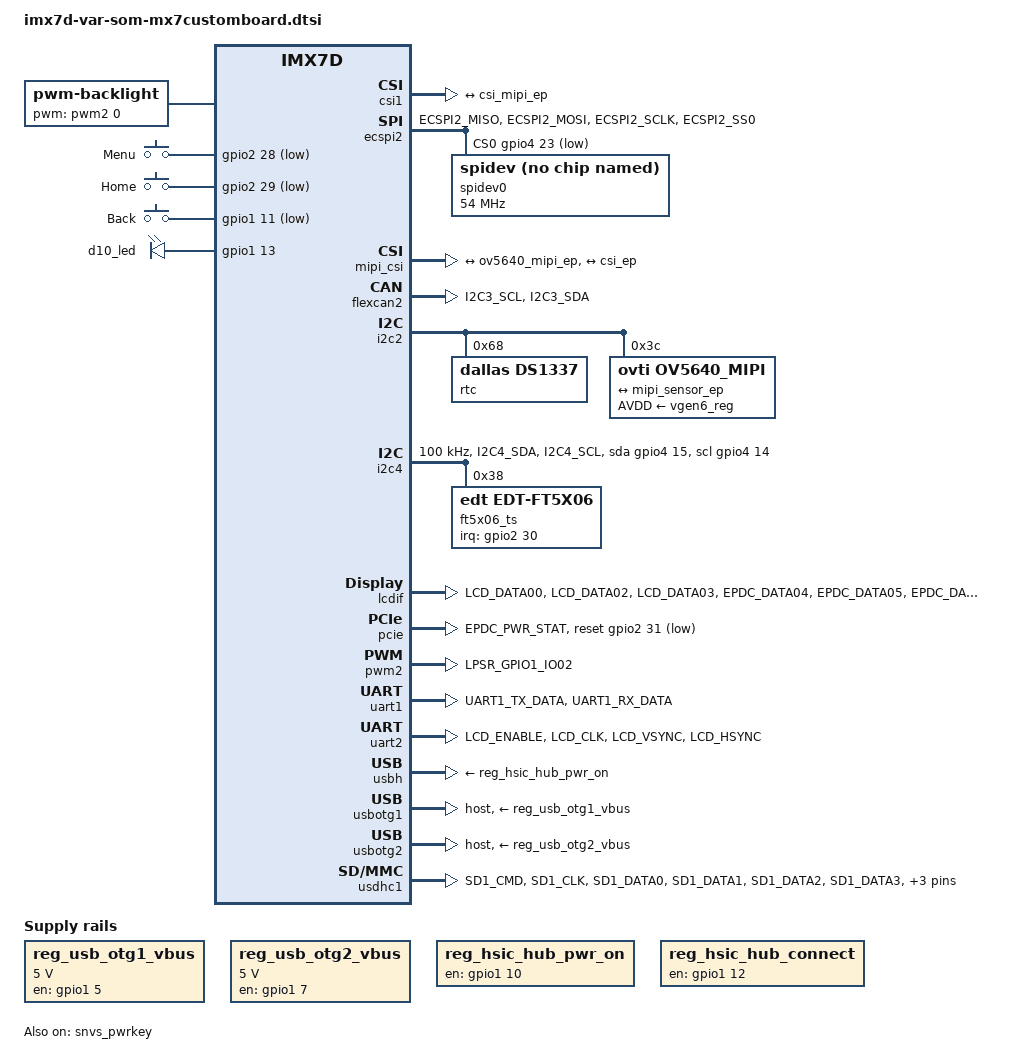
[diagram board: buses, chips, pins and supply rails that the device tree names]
// SPDX-License-Identifier: GPL-2.0+ OR MIT
//
// Copyright (C) 2016-2022 Variscite Ltd.

/ {
	chosen {
		stdout-path = &uart1;
	};

	backlight {
		compatible = "pwm-backlight";
		pwms = <&pwm2 0 5000000 0>;
		brightness-levels = <0 4 8 16 32 64 128 255>;
		default-brightness-level = <7>;
		status = "okay";
	};

	gpio-keys {
		compatible = "gpio-keys";
		pinctrl-names = "default";
		pinctrl-0 = <&pinctrl_gpio_keys>;

		menu {
			label = "Menu";
			gpios = <&gpio2 28 GPIO_ACTIVE_LOW>;
			linux,code = <KEY_MENU>;
		};

		home {
			label = "Home";
			gpios = <&gpio2 29 GPIO_ACTIVE_LOW>;
			linux,code = <KEY_HOME>;
		};

		back {
			label = "Back";
			gpios = <&gpio1 11 GPIO_ACTIVE_LOW>;
			linux,code = <KEY_BACK>;
		};
	};

	gpio-leds {
		compatible = "gpio-leds";
		pinctrl-names = "default";
		pinctrl-0 = <&pinctrl_gpio_leds>;

		d10_led {
			gpios = <&gpio1 13 GPIO_ACTIVE_HIGH>;
			linux,default-trigger = "heartbeat";
		};
	};

	reg_usb_otg1_vbus: reg-usb-otg1-vbus {
		pinctrl-names = "default";
		pinctrl-0 = <&pinctrl_usbotg1_pwr>;
		compatible = "regulator-fixed";
		regulator-name = "usb_otg1_vbus";
		regulator-min-microvolt = <5000000>;
		regulator-max-microvolt = <5000000>;
		gpio = <&gpio1 5 GPIO_ACTIVE_HIGH>;
		enable-active-high;
	};

	reg_usb_otg2_vbus: reg-usb-otg2-vbus {
		pinctrl-names = "default";
		pinctrl-0 = <&pinctrl_usbotg2_pwr>;
		compatible = "regulator-fixed";
		regulator-name = "usb_otg2_vbus";
		regulator-min-microvolt = <5000000>;
		regulator-max-microvolt = <5000000>;
		gpio = <&gpio1 7 GPIO_ACTIVE_HIGH>;
		enable-active-high;
	};

	reg_hsic_hub_pwr_on: reg_hsic_hub_pwr_on {
		pinctrl-names = "default";
		pinctrl-0 = <&pinctrl_hsic_hub_pwr>;
		compatible = "regulator-fixed";
		regulator-name = "hsic_hub_pwr_on";
		gpio = <&gpio1 10 GPIO_ACTIVE_HIGH>;
		enable-active-high;
		regulator-always-on;
		status = "okay";
	};

	reg_hsic_hub_connect: reg_hsic_hub_connect {
		pinctrl-names = "default";
		pinctrl-0 = <&pinctrl_hsic_hub_connect>;
		compatible = "regulator-fixed";
		regulator-name = "reg_hsic_hub_connect";
		gpio = <&gpio1 12 GPIO_ACTIVE_HIGH>;
		enable-active-high;
		regulator-always-on;
		status = "okay";
	};
};

&clks {
	assigned-clocks = <&clks IMX7D_PLL_AUDIO_POST_DIV>;
	assigned-clock-rates = <884736000>;
};

&csi1 {
	csi-mux-mipi = <&gpr 0x14 4>;
	fsl,mipi-mode;
	status = "okay";

	port {
		csi_ep: endpoint {
			remote-endpoint = <&csi_mipi_ep>;
		};
	};
};

&ecspi2 {
	fsl,spi-num-chipselects = <1>;
	pinctrl-names = "default", "sleep";
	pinctrl-0 = <&pinctrl_ecspi2>;
	cs-gpios = <&gpio4 23 GPIO_ACTIVE_LOW>;
	status = "okay";

	spidev0: spi@0 {
		compatible = "var,spidev";
		reg = <0>;
		spi-max-frequency = <54000000>;
	};
};

&mipi_csi {
	clock-frequency = <240000000>;
	status = "okay";
	port {
		mipi_sensor_ep: endpoint@1 {
			remote-endpoint = <&ov5640_mipi_ep>;
			data-lanes = <2>;
			csis-hs-settle = <13>;
			csis-clk-settle = <2>;
			csis-wclk;
		};

		csi_mipi_ep: endpoint@2 {
			remote-endpoint = <&csi_ep>;
		};
	};
};

&flexcan2 {
	pinctrl-names = "default";
	pinctrl-0 = <&pinctrl_flexcan2>;
	status = "okay";
};

&i2c2 {
	/* DS1337 RTC module */
	rtc@68 {
		compatible = "dallas,ds1337";
		reg = <0x68>;
	};

	ov5640_mipi: ov5640_mipi@3c {
		pinctrl-names = "default";
		pinctrl-0 = <&pinctrl_ov5640>;
		compatible = "ovti,ov5640_mipi";
		reg = <0x3c>;
		clocks = <&clks IMX7D_CLKO2_ROOT_CG>;
		clock-names = "csi_mclk";
		csi_id = <0>;
		AVDD-supply = <&vgen6_reg>;
		mclk = <24000000>;
		mclk_source = <0>;
		uyvy-fmt;
		port {
			ov5640_mipi_ep: endpoint {
				remote-endpoint = <&mipi_sensor_ep>;
			};
		};
	};
};

&i2c4 {
	clock-frequency = <100000>;
	pinctrl-names = "default", "gpio";
	pinctrl-0 = <&pinctrl_i2c4>;
	pinctrl-1 = <&pinctrl_i2c4_gpio>;
	scl-gpios = <&gpio4 14 GPIO_ACTIVE_HIGH>;
	sda-gpios = <&gpio4 15 GPIO_ACTIVE_HIGH>;
	status = "okay";

	ft5x06_ts@38 {
		pinctrl-names = "default";
		pinctrl-0 = <&pinctrl_touch>;
		compatible = "edt,edt-ft5x06";
		reg = <0x38>;
		interrupt-parent = <&gpio2>;
		interrupts = <30 0>;
		touchscreen-size-x = <800>;
		touchscreen-size-y = <480>;
		touchscreen-inverted-x;
		touchscreen-inverted-y;
	};
};

&lcdif {
	pinctrl-names = "default";
	pinctrl-0 = <&pinctrl_lcdif_dat
		     &pinctrl_lcdif_ctrl>;
	display = <&display0>;
	status = "okay";

	display0: display0 {
		bits-per-pixel = <32>;
		bus-width = <24>;

		display-timings {
			native-mode = <&timing0>;
			timing0: timing0 {
				clock-frequency = <29232000>;
				hactive = <800>;
				vactive = <480>;
				hfront-porch = <40>;
				hback-porch = <40>;
				hsync-len = <48>;
				vback-porch = <29>;
				vfront-porch = <13>;
				vsync-len = <3>;
				hsync-active = <0>;
				vsync-active = <0>;
				de-active = <1>;
				pixelclk-active = <0>;
			};
		};
	};
};

&pcie {
	pinctrl-names = "default";
	pinctrl-0 = <&pinctrl_pcie>;
	reset-gpio = <&gpio2 31 GPIO_ACTIVE_LOW>;
	status = "okay";
};

&sai2 {
	pinctrl-names = "default";
	pinctrl-0 = <&pinctrl_sai2>;
	assigned-clocks = <&clks IMX7D_SAI2_ROOT_SRC>,
			  <&clks IMX7D_SAI2_ROOT_CLK>;
	assigned-clock-parents = <&clks IMX7D_PLL_AUDIO_POST_DIV>;
	assigned-clock-rates = <0>, <36864000>;
	status = "disabled";
};

&pwm2 {
	pinctrl-names = "default";
	pinctrl-0 = <&pinctrl_pwm2>;
	status = "okay";
};

/* DEBUG */
&uart1 {
	pinctrl-names = "default", "sleep";
	pinctrl-0 = <&pinctrl_uart1>;
	pinctrl-1 = <&pinctrl_uart1_sleep>;
	assigned-clocks = <&clks IMX7D_UART1_ROOT_SRC>;
	assigned-clock-parents = <&clks IMX7D_OSC_24M_CLK>;
	status = "okay";
};

&uart2 {
	pinctrl-names = "default";
	pinctrl-0 = <&pinctrl_uart2>;
	assigned-clocks = <&clks IMX7D_UART2_ROOT_SRC>;
	assigned-clock-parents = <&clks IMX7D_OSC_24M_CLK>;
	uart-has-rtscts;
	status = "okay";
};

&usbh {
	status = "okay";
	vbus-supply = <&reg_hsic_hub_pwr_on>;
};

&usbotg1 {
	vbus-supply = <&reg_usb_otg1_vbus>;
	dr_mode = "host";
	status = "okay";
};

&usbotg2 {
	vbus-supply = <&reg_usb_otg2_vbus>;
	dr_mode = "host";
	status = "okay";
};

&usdhc1 {
	pinctrl-names = "default", "state_100mhz", "state_200mhz";
	pinctrl-0 = <&pinctrl_usdhc1>, <&pinctrl_usdhc1_gpio>;
	pinctrl-1 = <&pinctrl_usdhc1_100mhz>, <&pinctrl_usdhc1_gpio>;
	pinctrl-2 = <&pinctrl_usdhc1_200mhz>, <&pinctrl_usdhc1_gpio>;
	cd-gpios = <&gpio5 0 GPIO_ACTIVE_LOW>;
	no-1-8-v;
	keep-power-in-suspend;
	status = "okay";
};

&wdog1 {
	pinctrl-names = "default";
	pinctrl-0 = <&pinctrl_wdog>;
	fsl,ext-reset-output;
};

&snvs_rtc {
	status = "disabled";
};

&snvs_pwrkey {
	status = "okay";
};

&snvs_poweroff {
	status = "okay";
};

&iomuxc {
	pinctrl_gpio_keys: gpio_keysgrp {
		fsl,pins = <
			MX7D_PAD_EPDC_BDR0__GPIO2_IO28		0x32
			MX7D_PAD_EPDC_BDR1__GPIO2_IO29		0x32
			MX7D_PAD_GPIO1_IO11__GPIO1_IO11		0x32
		>;
	};

	pinctrl_gpio_leds: gpio_ledsgrp {
		fsl,pins = <
			MX7D_PAD_GPIO1_IO13__GPIO1_IO13		0x59
		>;
	};

	pinctrl_ecspi2: ecspi2grp {
		fsl,pins = <
			MX7D_PAD_ECSPI2_MISO__ECSPI2_MISO	0x2
			MX7D_PAD_ECSPI2_MOSI__ECSPI2_MOSI	0x2
			MX7D_PAD_ECSPI2_SCLK__ECSPI2_SCLK	0x2
			MX7D_PAD_ECSPI2_SS0__GPIO4_IO23		0x2
		>;
	};

	pinctrl_flexcan2: flexcan2grp {
		fsl,pins = <
			MX7D_PAD_I2C3_SCL__FLEXCAN2_RX		0x59
			MX7D_PAD_I2C3_SDA__FLEXCAN2_TX		0x59
		>;
	};

	pinctrl_hsic_hub_connect: hsichubconnectgrp {
		fsl,pins = <
			MX7D_PAD_GPIO1_IO12__GPIO1_IO12		0x59 /* hsic hub connect */
		>;
	};

	pinctrl_hsic_hub_pwr: hsichubpwrgrp {
		fsl,pins = <
			MX7D_PAD_GPIO1_IO10__GPIO1_IO10		0x59 /* hsic hub reset */
		>;
	};

	pinctrl_i2c4: i2c4grp {
		fsl,pins = <
			MX7D_PAD_I2C4_SDA__I2C4_SDA	0x4000007f
			MX7D_PAD_I2C4_SCL__I2C4_SCL	0x4000007f
		>;
	};

	pinctrl_i2c4_gpio: i2c4gpiogrp {
		fsl,pins = <
			MX7D_PAD_I2C4_SDA__GPIO4_IO15	0x4000007f
			MX7D_PAD_I2C4_SCL__GPIO4_IO14	0x4000007f
		>;
	};

	pinctrl_lcdif_dat: lcdifdatgrp {
		fsl,pins = <
			MX7D_PAD_LCD_DATA00__GPIO3_IO5		0x79
			MX7D_PAD_LCD_DATA02__LCD_DATA2		0x79
			MX7D_PAD_LCD_DATA03__LCD_DATA3		0x79
			MX7D_PAD_EPDC_DATA04__LCD_DATA4		0x79
			MX7D_PAD_EPDC_DATA05__LCD_DATA5		0x79
			MX7D_PAD_EPDC_DATA06__LCD_DATA6		0x79
			MX7D_PAD_EPDC_DATA07__LCD_DATA7		0x79
			MX7D_PAD_EPDC_DATA10__LCD_DATA10	0x79
			MX7D_PAD_EPDC_DATA11__LCD_DATA11	0x79
			MX7D_PAD_EPDC_DATA12__LCD_DATA12	0x79
			MX7D_PAD_EPDC_DATA13__LCD_DATA13	0x79
			MX7D_PAD_EPDC_DATA14__LCD_DATA14	0x79
			MX7D_PAD_EPDC_DATA15__LCD_DATA15	0x79
			MX7D_PAD_LCD_DATA18__LCD_DATA18		0x79
			MX7D_PAD_LCD_DATA19__LCD_DATA19		0x79
			MX7D_PAD_LCD_DATA20__LCD_DATA20		0x79
			MX7D_PAD_LCD_DATA21__LCD_DATA21		0x79
			MX7D_PAD_LCD_DATA22__LCD_DATA22		0x79
			MX7D_PAD_LCD_DATA23__LCD_DATA23		0x79
		>;
	};

	pinctrl_lcdif_ctrl: lcdifctrlgrp {
		fsl,pins = <
			MX7D_PAD_EPDC_DATA00__LCD_CLK		0x79
			MX7D_PAD_EPDC_DATA02__LCD_VSYNC		0x79
			MX7D_PAD_EPDC_DATA03__LCD_HSYNC		0x79
			MX7D_PAD_EPDC_DATA01__LCD_ENABLE	0x79
		>;
	};

	pinctrl_ov5640: ov5640grp {
		fsl,pins = <
			MX7D_PAD_SD1_WP__CCM_CLKO2		0xb0  /* camera clock */
		>;
	};

	pinctrl_pcie: pciegrp {
		fsl,pins = <
			MX7D_PAD_EPDC_PWR_STAT__GPIO2_IO31	0x79 /* pcie reset */
		>;
	};

	pinctrl_sai2: sai2grp {
		fsl,pins = <
			MX7D_PAD_SAI2_TX_BCLK__SAI2_TX_BCLK	0x1f
			MX7D_PAD_SAI2_TX_SYNC__SAI2_TX_SYNC	0x1f
			MX7D_PAD_SAI2_TX_DATA__SAI2_TX_DATA0	0x30
			MX7D_PAD_SAI2_RX_DATA__SAI2_RX_DATA0	0x1f
		>;
	};

	pinctrl_uart1: uart1grp {
		fsl,pins = <
			MX7D_PAD_UART1_TX_DATA__UART1_DCE_TX	0x79
			MX7D_PAD_UART1_RX_DATA__UART1_DCE_RX	0x79
		>;
	};

	pinctrl_uart1_sleep: uart1sleep_grp {
		fsl,pins = <
			MX7D_PAD_UART1_TX_DATA__GPIO4_IO1	0x10
			MX7D_PAD_UART1_RX_DATA__GPIO4_IO0	0x10
		>;
	};

	pinctrl_uart2: uart2grp {
		fsl,pins = <
			MX7D_PAD_LCD_ENABLE__UART2_DCE_TX	0x79
			MX7D_PAD_LCD_CLK__UART2_DCE_RX		0x79
			MX7D_PAD_LCD_VSYNC__UART2_DCE_CTS	0x79
			MX7D_PAD_LCD_HSYNC__UART2_DCE_RTS	0x79
		>;
	};

	pinctrl_touch: touchgrp {
		fsl,pins = <
			MX7D_PAD_EPDC_PWR_COM__GPIO2_IO30	0x80000000  /* capacitive touch irq */
		>;
	};

	pinctrl_usdhc1_gpio: usdhc1_gpiogrp {
		fsl,pins = <
			MX7D_PAD_SD1_CD_B__GPIO5_IO0		0x59 /* CD */
			MX7D_PAD_GPIO1_IO08__SD1_VSELECT	0x59 /* VSELECT */
		>;
	};

	pinctrl_usdhc1: usdhc1grp {
		fsl,pins = <
			MX7D_PAD_SD1_CMD__SD1_CMD		0x59
			MX7D_PAD_SD1_CLK__SD1_CLK		0x19
			MX7D_PAD_SD1_DATA0__SD1_DATA0		0x59
			MX7D_PAD_SD1_DATA1__SD1_DATA1		0x59
			MX7D_PAD_SD1_DATA2__SD1_DATA2		0x59
			MX7D_PAD_SD1_DATA3__SD1_DATA3		0x59
		>;
	};

	pinctrl_usdhc1_100mhz: usdhc1grp_100mhz {
		fsl,pins = <
			MX7D_PAD_SD1_CMD__SD1_CMD		0x5a
			MX7D_PAD_SD1_CLK__SD1_CLK		0x1a
			MX7D_PAD_SD1_DATA0__SD1_DATA0		0x5a
			MX7D_PAD_SD1_DATA1__SD1_DATA1		0x5a
			MX7D_PAD_SD1_DATA2__SD1_DATA2		0x5a
			MX7D_PAD_SD1_DATA3__SD1_DATA3		0x5a
		>;
	};

	pinctrl_usdhc1_200mhz: usdhc1grp_200mhz {
		fsl,pins = <
			MX7D_PAD_SD1_CMD__SD1_CMD		0x5b
			MX7D_PAD_SD1_CLK__SD1_CLK		0x1b
			MX7D_PAD_SD1_DATA0__SD1_DATA0		0x5b
			MX7D_PAD_SD1_DATA1__SD1_DATA1		0x5b
			MX7D_PAD_SD1_DATA2__SD1_DATA2		0x5b
			MX7D_PAD_SD1_DATA3__SD1_DATA3		0x5b
		>;
	};
};

&iomuxc_lpsr {
	pinctrl_pwm2: pwm2grp {
		fsl,pins = <
			MX7D_PAD_LPSR_GPIO1_IO02__PWM2_OUT		0x110b0
		>;
	};

	pinctrl_usbotg1_pwr: usbotg1pwrgrp {
		fsl,pins = <
			MX7D_PAD_LPSR_GPIO1_IO05__GPIO1_IO5		0x14
		>;
	};

	pinctrl_usbotg2_pwr: usbotg2pwrgrp {
		fsl,pins = <
			MX7D_PAD_LPSR_GPIO1_IO07__GPIO1_IO7		0x14
		>;
	};

	pinctrl_wdog: wdoggrp {
		fsl,pins = <
			MX7D_PAD_LPSR_GPIO1_IO00__WDOG1_WDOG_B		0x74
		>;
	};
};
